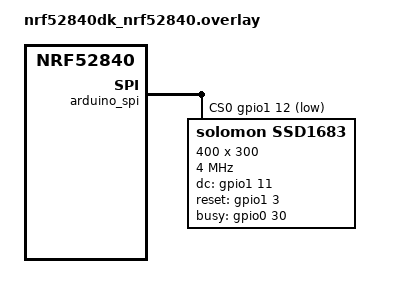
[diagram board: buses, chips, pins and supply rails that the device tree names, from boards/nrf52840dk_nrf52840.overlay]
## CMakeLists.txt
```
cmake_minimum_required(VERSION 3.20.0)

# Add the PN5180 driver module before finding Zephyr
list(APPEND EXTRA_ZEPHYR_MODULES ${CMAKE_CURRENT_SOURCE_DIR}/../ssd1683)

find_package(Zephyr REQUIRED HINTS $ENV{ZEPHYR_BASE})
project(lvgl_1)


# Add all the C files you want built for the app here.
# Keep source files in src/ and list them below.
target_sources(app PRIVATE
    src/main.c
    fonts/roboto_28.c
    fonts/roboto_36.c
    fonts/roboto_bold_42.c
)

# Include directories
target_include_directories(app PRIVATE
    ../ssd1683/include
    ${gen_dir}
    fonts
)
```

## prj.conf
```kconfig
CONFIG_SPI=y
CONFIG_SPI_ASYNC=y
CONFIG_SPI_SLAVE=y
CONFIG_GPIO=y


CONFIG_LOG=y
CONFIG_LOG_DEFAULT_LEVEL=3
CONFIG_SHELL=y


CONFIG_DISPLAY=y
CONFIG_SSD1683=y
CONFIG_MAIN_STACK_SIZE=32768
CONFIG_DISPLAY=y


CONFIG_LVGL=y
# LVGL memory pool size
CONFIG_LV_Z_MEM_POOL_SIZE=32768

# Enable LVGL widgets
CONFIG_LV_USE_LABEL=y
CONFIG_LV_LABEL_TEXT_SELECTION=y
CONFIG_LV_LABEL_LONG_TXT_HINT=y
CONFIG_LV_USE_LINE=y

CONFIG_MPU=y
CONFIG_ARM_MPU=y
CONFIG_MPU_STACK_GUARD=y
CONFIG_MPU_ALLOW_FLASH_WRITE=y


CONFIG_MULTITHREADING=y
CONFIG_THREAD_STACK_INFO=y
CONFIG_INIT_STACKS=y
CONFIG_STACK_CANARIES=y
```

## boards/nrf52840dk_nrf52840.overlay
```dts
// /* Arduino SPI configuration for EPD and NFC sharing */
// &arduino_spi {
// 	status = "okay";
// 	cs-gpios = <&gpio1 12 GPIO_ACTIVE_LOW>; /* EPD CS */

// 	/* EPD device on arduino_spi */
// 	epd_spi_device:
// 		spi-dev-epd@0
// 		{
// 			compatible = "spi-device";
// 			reg = <0>;
// 			spi-max-frequency = <4000000>;
// 		};
// };

// /{
// 	zephyr,user
// 	{
// 		epd_busy-gpios = <&gpio0 30 GPIO_ACTIVE_HIGH>;
// 		epd_dc-gpios = <&gpio1 11 GPIO_ACTIVE_HIGH>;
// 		epd_rst-gpios = <&gpio1 3 GPIO_ACTIVE_HIGH>;
// 	};
// };

/ {
	chosen {
		zephyr,display = &ssd1683;
	};
};


&arduino_spi {
	status = "okay";
	cs-gpios = <&gpio1 12 GPIO_ACTIVE_LOW>;  /* EPD CS */
	
	/* SSD1683 E-Paper Display - Zephyr Display Driver */
	ssd1683: ssd1683@0 {
		compatible = "solomon,ssd1683";
		reg = <0>;
		spi-max-frequency = <4000000>;
		
		/* Display dimensions (400x300 pixels) */
		width = <400>;
		height = <300>;
		
		/* Control GPIOs */
		dc-gpios = <&gpio1 11 GPIO_ACTIVE_HIGH>;    /* Data/Command control */
		reset-gpios = <&gpio1 3 GPIO_ACTIVE_HIGH>;   /* Hardware reset */
		busy-gpios = <&gpio0 30 GPIO_ACTIVE_HIGH>;   /* Busy status input */
		
		/* Display configuration */
		fast-mode;  /* Enable fast refresh mode for quicker updates */
	};
};
```

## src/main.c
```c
#include <lvgl.h>
#include <string.h>
#include <zephyr/drivers/display.h>
#include <zephyr/kernel.h>

// Settings
static const int32_t sleep_time_ms = 50; // Target 20 FPS

int main(void) {
  uint32_t count = 0;
  char buf[11] = {0};
  const struct device *display;
  lv_obj_t *hello_label;
  lv_obj_t *counter_label;
  lv_obj_t *rect;
  lv_obj_t *circle;
  lv_style_t rect_style;
  lv_style_t circle_style;
  lv_point_t rect_points[5] = {{0, 0}, {120, 0}, {120, 20}, {0, 20}, {0, 0}};
  const uint32_t circle_radius = 15;

  // Initialize the display
  display = DEVICE_DT_GET(DT_CHOSEN(zephyr_display));
  if (!device_is_ready(display)) {
    printk("Error: display not ready\r\n");
    return 0;
  }

  // Create a static label widget
  hello_label = lv_label_create(lv_scr_act());
  lv_label_set_text(hello_label, "Hello, World!");
  lv_obj_align(hello_label, LV_ALIGN_TOP_MID, 0, 5);

  // Create a dynamic label widget
  counter_label = lv_label_create(lv_scr_act());
  lv_obj_align(counter_label, LV_ALIGN_BOTTOM_MID, 0, 0);

  // Set line style
  lv_style_init(&rect_style);
  lv_style_set_line_color(&rect_style, lv_color_hex(0x0000FF));
  lv_style_set_line_width(&rect_style, 3);

  // Create a rectangle out of lines
  rect = lv_line_create(lv_scr_act());
  lv_obj_add_style(rect, &rect_style, 0);
  lv_line_set_points(rect, rect_points,
                     sizeof(rect_points) / sizeof(rect_points[0]));
  lv_obj_align(rect, LV_ALIGN_TOP_MID, 0, 0);

  // Set circle style
  lv_style_init(&circle_style);
  lv_style_set_radius(&circle_style, circle_radius);
  lv_style_set_bg_opa(&circle_style, LV_OPA_100);
  lv_style_set_bg_color(&circle_style, lv_color_hex(0xFF0000));

  // Create an object with the new style
  circle = lv_obj_create(lv_scr_act());
  lv_obj_set_size(circle, circle_radius * 2, circle_radius * 2);
  lv_obj_add_style(circle, &circle_style, 0);
  lv_obj_align(circle, LV_ALIGN_CENTER, 0, 5);

  // Disable display blanking
  display_blanking_off(display);

  // Do forever
  while (1) {

    // Update counter label every second
    count++;
    if ((count % (1000 / sleep_time_ms)) == 0) {
      sprintf(buf, "%d", count / (1000 / sleep_time_ms));
      lv_label_set_text(counter_label, buf);
    }

    // Must be called periodically
    lv_task_handler();

    // Sleep
    k_msleep(sleep_time_ms);
  }
}
```

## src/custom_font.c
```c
/*
 * Custom Font Rendering Implementation
 * Direct font rendering using cfbv_1016.h font data
 */

#include "custom_font.h"
#include "fonts/cfbv_1016.h"
#include <string.h>
#include <zephyr/device.h>
#include <zephyr/drivers/display.h>
#include <zephyr/kernel.h>
#include <zephyr/logging/log.h>

LOG_MODULE_REGISTER(custom_font, LOG_LEVEL_INF);

// Helper function to get font data for a character
static const uint8_t *get_font_data(char c) {
  // Convert character to font index (ASCII 32-126 maps to 0-94)
  if (c < 32 || c > 126) {
    c = 32; // Use space for invalid characters
  }
  return cfb_font_custom_1016[c - 32];
}

// Helper function to set a pixel in a buffer
static void set_pixel(uint8_t *buffer, int width_bytes, int x, int y,
                      bool black) {
  if (x < 0 || y < 0)
    return;

  int byte_index = (y * width_bytes) + (x / 8);
  int bit_index = 7 - (x % 8);

  if (black) {
    buffer[byte_index] &= ~(1 << bit_index); // Clear bit = black pixel
  } else {
    buffer[byte_index] |= (1 << bit_index); // Set bit = white pixel
  }
}

// Draw a single character
int custom_font_draw_char(const struct device *display, char c, uint16_t x,
                          uint16_t y) {
  const uint8_t *font_data = get_font_data(c);

  // Get display capabilities
  struct display_capabilities caps;
  display_get_capabilities(display, &caps);

  int width_bytes = (caps.x_resolution + 7) / 8;
  int total_bytes = width_bytes * caps.y_resolution;

  // Allocate buffer for this character
  uint8_t *char_buffer = k_malloc(total_bytes);
  if (!char_buffer) {
    LOG_ERR("Failed to allocate character buffer");
    return -ENOMEM;
  }

  // Clear buffer to white (0xFF = white for EPD)
  memset(char_buffer, 0xFF, total_bytes);

  // Render character
  for (int row = 0; row < FONT_HEIGHT; row++) {
    // Get the two bytes for this row (little-endian)
    uint16_t row_data = font_data[row * FONT_CHAR_WIDTH] |
                        (font_data[row * FONT_CHAR_WIDTH + 1] << 8);

    for (int col = 0; col < FONT_WIDTH; col++) {
      // Check if pixel should be black (bit is set)
      // Font data is MSB first, so we check from left to right
      if (row_data & (0x8000 >> col)) {
        set_pixel(char_buffer, width_bytes, x + col, y + row, true);
      }
    }
  }

  // Create display buffer descriptor
  struct display_buffer_descriptor desc = {
      .buf_size = total_bytes,
      .width = caps.x_resolution,
      .height = caps.y_resolution,
      .pitch = width_bytes,
  };

  // Write to display
  int ret = display_write(display, 0, 0, &desc, char_buffer);
  if (ret < 0) {
    LOG_ERR("Display write failed: %d", ret);
  }

  k_free(char_buffer);
  return ret;
}

// Clear the display to white
int custom_font_clear_display(const struct device *display) {
  struct display_capabilities caps;
  display_get_capabilities(display, &caps);

  int width_bytes = (caps.x_resolution + 7) / 8;
  int total_bytes = width_bytes * caps.y_resolution;

  // Allocate white buffer
  uint8_t *white_buffer = k_malloc(total_bytes);
  if (!white_buffer) {
    LOG_ERR("Failed to allocate white buffer");
    return -ENOMEM;
  }

  // Fill with white (0xFF = white for EPD)
  memset(white_buffer, 0xFF, total_bytes);

  struct display_buffer_descriptor desc = {
      .buf_size = total_bytes,
      .width = caps.x_resolution,
      .height = caps.y_resolution,
      .pitch = width_bytes,
  };

  int ret = display_write(display, 0, 0, &desc, white_buffer);
  k_free(white_buffer);

  return ret;
}

// Render text string
int custom_font_render_text(const struct device *display, const char *text,
                            uint16_t x, uint16_t y) {
  LOG_INF("Rendering text: '%s' at (%d, %d)", text, x, y);

  // Clear display first
  int ret = custom_font_clear_display(display);
  if (ret < 0) {
    LOG_ERR("Failed to clear display: %d", ret);
    return ret;
  }

  // Render each character
  uint16_t current_x = x;
  for (int i = 0; text[i] != '\0'; i++) {
    ret = custom_font_draw_char(display, text[i], current_x, y);
    if (ret < 0) {
      LOG_ERR("Failed to draw character '%c': %d", text[i], ret);
      return ret;
    }
    current_x += FONT_WIDTH + 1; // Add 1 pixel spacing between characters
  }

  LOG_INF("Text rendered successfully");
  return 0;
}
```

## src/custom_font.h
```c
/*
 * Custom Font Rendering System
 * Uses cfbv_1016.h font data for direct text rendering
 */

#ifndef CUSTOM_FONT_H
#define CUSTOM_FONT_H

#include <stdint.h>
#include <zephyr/device.h>

// Font dimensions
#define FONT_WIDTH 10
#define FONT_HEIGHT 16
#define FONT_CHAR_WIDTH 2 // 2 bytes per row (16 bits = 10 pixels + 6 padding)

// Function declarations
int custom_font_render_text(const struct device *display, const char *text,
                            uint16_t x, uint16_t y);
int custom_font_clear_display(const struct device *display);
int custom_font_draw_char(const struct device *display, char c, uint16_t x,
                          uint16_t y);

#endif /* CUSTOM_FONT_H */
```

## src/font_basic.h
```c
const char font8x8_basic[128][8] = {
    {0x00, 0x00, 0x00, 0x00, 0x00, 0x00, 0x00, 0x00}, // U+0000 (nul)
    {0x00, 0x00, 0x00, 0x00, 0x00, 0x00, 0x00, 0x00}, // U+0001
    {0x00, 0x00, 0x00, 0x00, 0x00, 0x00, 0x00, 0x00}, // U+0002
    {0x00, 0x00, 0x00, 0x00, 0x00, 0x00, 0x00, 0x00}, // U+0003
    {0x00, 0x00, 0x00, 0x00, 0x00, 0x00, 0x00, 0x00}, // U+0004
    {0x00, 0x00, 0x00, 0x00, 0x00, 0x00, 0x00, 0x00}, // U+0005
    {0x00, 0x00, 0x00, 0x00, 0x00, 0x00, 0x00, 0x00}, // U+0006
    {0x00, 0x00, 0x00, 0x00, 0x00, 0x00, 0x00, 0x00}, // U+0007
    {0x00, 0x00, 0x00, 0x00, 0x00, 0x00, 0x00, 0x00}, // U+0008
    {0x00, 0x00, 0x00, 0x00, 0x00, 0x00, 0x00, 0x00}, // U+0009
    {0x00, 0x00, 0x00, 0x00, 0x00, 0x00, 0x00, 0x00}, // U+000A
    {0x00, 0x00, 0x00, 0x00, 0x00, 0x00, 0x00, 0x00}, // U+000B
    {0x00, 0x00, 0x00, 0x00, 0x00, 0x00, 0x00, 0x00}, // U+000C
    {0x00, 0x00, 0x00, 0x00, 0x00, 0x00, 0x00, 0x00}, // U+000D
    {0x00, 0x00, 0x00, 0x00, 0x00, 0x00, 0x00, 0x00}, // U+000E
    {0x00, 0x00, 0x00, 0x00, 0x00, 0x00, 0x00, 0x00}, // U+000F
    {0x00, 0x00, 0x00, 0x00, 0x00, 0x00, 0x00, 0x00}, // U+0010
    {0x00, 0x00, 0x00, 0x00, 0x00, 0x00, 0x00, 0x00}, // U+0011
    {0x00, 0x00, 0x00, 0x00, 0x00, 0x00, 0x00, 0x00}, // U+0012
    {0x00, 0x00, 0x00, 0x00, 0x00, 0x00, 0x00, 0x00}, // U+0013
    {0x00, 0x00, 0x00, 0x00, 0x00, 0x00, 0x00, 0x00}, // U+0014
    {0x00, 0x00, 0x00, 0x00, 0x00, 0x00, 0x00, 0x00}, // U+0015
    {0x00, 0x00, 0x00, 0x00, 0x00, 0x00, 0x00, 0x00}, // U+0016
    {0x00, 0x00, 0x00, 0x00, 0x00, 0x00, 0x00, 0x00}, // U+0017
    {0x00, 0x00, 0x00, 0x00, 0x00, 0x00, 0x00, 0x00}, // U+0018
    {0x00, 0x00, 0x00, 0x00, 0x00, 0x00, 0x00, 0x00}, // U+0019
    {0x00, 0x00, 0x00, 0x00, 0x00, 0x00, 0x00, 0x00}, // U+001A
    {0x00, 0x00, 0x00, 0x00, 0x00, 0x00, 0x00, 0x00}, // U+001B
    {0x00, 0x00, 0x00, 0x00, 0x00, 0x00, 0x00, 0x00}, // U+001C
    {0x00, 0x00, 0x00, 0x00, 0x00, 0x00, 0x00, 0x00}, // U+001D
    {0x00, 0x00, 0x00, 0x00, 0x00, 0x00, 0x00, 0x00}, // U+001E
    {0x00, 0x00, 0x00, 0x00, 0x00, 0x00, 0x00, 0x00}, // U+001F
    {0x00, 0x00, 0x00, 0x00, 0x00, 0x00, 0x00, 0x00}, // U+0020 (space)
    {0x18, 0x3C, 0x3C, 0x18, 0x18, 0x00, 0x18, 0x00}, // U+0021 (!)
    {0x36, 0x36, 0x00, 0x00, 0x00, 0x00, 0x00, 0x00}, // U+0022 (")
    {0x36, 0x36, 0x7F, 0x36, 0x7F, 0x36, 0x36, 0x00}, // U+0023 (#)
    {0x0C, 0x3E, 0x03, 0x1E, 0x30, 0x1F, 0x0C, 0x00}, // U+0024 ($)
    {0x00, 0x63, 0x33, 0x18, 0x0C, 0x66, 0x63, 0x00}, // U+0025 (%)
    {0x1C, 0x36, 0x1C, 0x6E, 0x3B, 0x33, 0x6E, 0x00}, // U+0026 (&)
    {0x06, 0x06, 0x03, 0x00, 0x00, 0x00, 0x00, 0x00}, // U+0027 (')
    {0x18, 0x0C, 0x06, 0x06, 0x06, 0x0C, 0x18, 0x00}, // U+0028 (()
    {0x06, 0x0C, 0x18, 0x18, 0x18, 0x0C, 0x06, 0x00}, // U+0029 ())
    {0x00, 0x66, 0x3C, 0xFF, 0x3C, 0x66, 0x00, 0x00}, // U+002A (*)
    {0x00, 0x0C, 0x0C, 0x3F, 0x0C, 0x0C, 0x00, 0x00}, // U+002B (+)
    {0x00, 0x00, 0x00, 0x00, 0x00, 0x0C, 0x0C, 0x06}, // U+002C (,)
    {0x00, 0x00, 0x00, 0x3F, 0x00, 0x00, 0x00, 0x00}, // U+002D (-)
    {0x00, 0x00, 0x00, 0x00, 0x00, 0x0C, 0x0C, 0x00}, // U+002E (.)
    {0x60, 0x30, 0x18, 0x0C, 0x06, 0x03, 0x01, 0x00}, // U+002F (/)
    {0x3E, 0x63, 0x73, 0x7B, 0x6F, 0x67, 0x3E, 0x00}, // U+0030 (0)
    {0x0C, 0x0E, 0x0C, 0x0C, 0x0C, 0x0C, 0x3F, 0x00}, // U+0031 (1)
    {0x1E, 0x33, 0x30, 0x1C, 0x06, 0x33, 0x3F, 0x00}, // U+0032 (2)
    {0x1E, 0x33, 0x30, 0x1C, 0x30, 0x33, 0x1E, 0x00}, // U+0033 (3)
    {0x38, 0x3C, 0x36, 0x33, 0x7F, 0x30, 0x78, 0x00}, // U+0034 (4)
    {0x3F, 0x03, 0x1F, 0x30, 0x30, 0x33, 0x1E, 0x00}, // U+0035 (5)
    {0x1C, 0x06, 0x03, 0x1F, 0x33, 0x33, 0x1E, 0x00}, // U+0036 (6)
    {0x3F, 0x33, 0x30, 0x18, 0x0C, 0x0C, 0x0C, 0x00}, // U+0037 (7)
    {0x1E, 0x33, 0x33, 0x1E, 0x33, 0x33, 0x1E, 0x00}, // U+0038 (8)
    {0x1E, 0x33, 0x33, 0x3E, 0x30, 0x18, 0x0E, 0x00}, // U+0039 (9)
    {0x00, 0x0C, 0x0C, 0x00, 0x00, 0x0C, 0x0C, 0x00}, // U+003A (:)
    {0x00, 0x0C, 0x0C, 0x00, 0x00, 0x0C, 0x0C, 0x06}, // U+003B (;)
    {0x18, 0x0C, 0x06, 0x03, 0x06, 0x0C, 0x18, 0x00}, // U+003C (<)
    {0x00, 0x00, 0x3F, 0x00, 0x00, 0x3F, 0x00, 0x00}, // U+003D (=)
    {0x06, 0x0C, 0x18, 0x30, 0x18, 0x0C, 0x06, 0x00}, // U+003E (>)
    {0x1E, 0x33, 0x30, 0x18, 0x0C, 0x00, 0x0C, 0x00}, // U+003F (?)
    {0x3E, 0x63, 0x7B, 0x7B, 0x7B, 0x03, 0x1E, 0x00}, // U+0040 (@)
    {0x0C, 0x1E, 0x33, 0x33, 0x3F, 0x33, 0x33, 0x00}, // U+0041 (A)
    {0x3F, 0x66, 0x66, 0x3E, 0x66, 0x66, 0x3F, 0x00}, // U+0042 (B)
    {0x3C, 0x66, 0x03, 0x03, 0x03, 0x66, 0x3C, 0x00}, // U+0043 (C)
    {0x1F, 0x36, 0x66, 0x66, 0x66, 0x36, 0x1F, 0x00}, // U+0044 (D)
    {0x7F, 0x46, 0x16, 0x1E, 0x16, 0x46, 0x7F, 0x00}, // U+0045 (E)
    {0x7F, 0x46, 0x16, 0x1E, 0x16, 0x06, 0x0F, 0x00}, // U+0046 (F)
    {0x3C, 0x66, 0x03, 0x03, 0x73, 0x66, 0x7C, 0x00}, // U+0047 (G)
    {0x33, 0x33, 0x33, 0x3F, 0x33, 0x33, 0x33, 0x00}, // U+0048 (H)
    {0x1E, 0x0C, 0x0C, 0x0C, 0x0C, 0x0C, 0x1E, 0x00}, // U+0049 (I)
    {0x78, 0x30, 0x30, 0x30, 0x33, 0x33, 0x1E, 0x00}, // U+004A (J)
    {0x67, 0x66, 0x36, 0x1E, 0x36, 0x66, 0x67, 0x00}, // U+004B (K)
    {0x0F, 0x06, 0x06, 0x06, 0x46, 0x66, 0x7F, 0x00}, // U+004C (L)
    {0x63, 0x77, 0x7F, 0x7F, 0x6B, 0x63, 0x63, 0x00}, // U+004D (M)
    {0x63, 0x67, 0x6F, 0x7B, 0x73, 0x63, 0x63, 0x00}, // U+004E (N)
    {0x1C, 0x36, 0x63, 0x63, 0x63, 0x36, 0x1C, 0x00}, // U+004F (O)
    {0x3F, 0x66, 0x66, 0x3E, 0x06, 0x06, 0x0F, 0x00}, // U+0050 (P)
    {0x1E, 0x33, 0x33, 0x33, 0x3B, 0x1E, 0x38, 0x00}, // U+0051 (Q)
    {0x3F, 0x66, 0x66, 0x3E, 0x36, 0x66, 0x67, 0x00}, // U+0052 (R)
    {0x1E, 0x33, 0x07, 0x0E, 0x38, 0x33, 0x1E, 0x00}, // U+0053 (S)
    {0x3F, 0x2D, 0x0C, 0x0C, 0x0C, 0x0C, 0x1E, 0x00}, // U+0054 (T)
    {0x33, 0x33, 0x33, 0x33, 0x33, 0x33, 0x3F, 0x00}, // U+0055 (U)
    {0x33, 0x33, 0x33, 0x33, 0x33, 0x1E, 0x0C, 0x00}, // U+0056 (V)
    {0x63, 0x63, 0x63, 0x6B, 0x7F, 0x77, 0x63, 0x00}, // U+0057 (W)
    {0x63, 0x63, 0x36, 0x1C, 0x1C, 0x36, 0x63, 0x00}, // U+0058 (X)
    {0x33, 0x33, 0x33, 0x1E, 0x0C, 0x0C, 0x1E, 0x00}, // U+0059 (Y)
    {0x7F, 0x63, 0x31, 0x18, 0x4C, 0x66, 0x7F, 0x00}, // U+005A (Z)
    {0x1E, 0x06, 0x06, 0x06, 0x06, 0x06, 0x1E, 0x00}, // U+005B ([)
    {0x03, 0x06, 0x0C, 0x18, 0x30, 0x60, 0x40, 0x00}, // U+005C (\)
    {0x1E, 0x18, 0x18, 0x18, 0x18, 0x18, 0x1E, 0x00}, // U+005D (])
    {0x08, 0x1C, 0x36, 0x63, 0x00, 0x00, 0x00, 0x00}, // U+005E (^)
    {0x00, 0x00, 0x00, 0x00, 0x00, 0x00, 0x00, 0xFF}, // U+005F (_)
    {0x0C, 0x0C, 0x18, 0x00, 0x00, 0x00, 0x00, 0x00}, // U+0060 (`)
    {0x00, 0x00, 0x1E, 0x30, 0x3E, 0x33, 0x6E, 0x00}, // U+0061 (a)
    {0x07, 0x06, 0x06, 0x3E, 0x66, 0x66, 0x3B, 0x00}, // U+0062 (b)
    {0x00, 0x00, 0x1E, 0x33, 0x03, 0x33, 0x1E, 0x00}, // U+0063 (c)
    {0x38, 0x30, 0x30, 0x3e, 0x33, 0x33, 0x6E, 0x00}, // U+0064 (d)
    {0x00, 0x00, 0x1E, 0x33, 0x3f, 0x03, 0x1E, 0x00}, // U+0065 (e)
    {0x1C, 0x36, 0x06, 0x0f, 0x06, 0x06, 0x0F, 0x00}, // U+0066 (f)
    {0x00, 0x00, 0x6E, 0x33, 0x33, 0x3E, 0x30, 0x1F}, // U+0067 (g)
    {0x07, 0x06, 0x36, 0x6E, 0x66, 0x66, 0x67, 0x00}, // U+0068 (h)
    {0x0C, 0x00, 0x0E, 0x0C, 0x0C, 0x0C, 0x1E, 0x00}, // U+0069 (i)
    {0x30, 0x00, 0x30, 0x30, 0x30, 0x33, 0x33, 0x1E}, // U+006A (j)
    {0x07, 0x06, 0x66, 0x36, 0x1E, 0x36, 0x67, 0x00}, // U+006B (k)
    {0x0E, 0x0C, 0x0C, 0x0C, 0x0C, 0x0C, 0x1E, 0x00}, // U+006C (l)
    {0x00, 0x00, 0x33, 0x7F, 0x7F, 0x6B, 0x63, 0x00}, // U+006D (m)
    {0x00, 0x00, 0x1F, 0x33, 0x33, 0x33, 0x33, 0x00}, // U+006E (n)
    {0x00, 0x00, 0x1E, 0x33, 0x33, 0x33, 0x1E, 0x00}, // U+006F (o)
    {0x00, 0x00, 0x3B, 0x66, 0x66, 0x3E, 0x06, 0x0F}, // U+0070 (p)
    {0x00, 0x00, 0x6E, 0x33, 0x33, 0x3E, 0x30, 0x78}, // U+0071 (q)
    {0x00, 0x00, 0x3B, 0x6E, 0x66, 0x06, 0x0F, 0x00}, // U+0072 (r)
    {0x00, 0x00, 0x3E, 0x03, 0x1E, 0x30, 0x1F, 0x00}, // U+0073 (s)
    {0x08, 0x0C, 0x3E, 0x0C, 0x0C, 0x2C, 0x18, 0x00}, // U+0074 (t)
    {0x00, 0x00, 0x33, 0x33, 0x33, 0x33, 0x6E, 0x00}, // U+0075 (u)
    {0x00, 0x00, 0x33, 0x33, 0x33, 0x1E, 0x0C, 0x00}, // U+0076 (v)
    {0x00, 0x00, 0x63, 0x6B, 0x7F, 0x7F, 0x36, 0x00}, // U+0077 (w)
    {0x00, 0x00, 0x63, 0x36, 0x1C, 0x36, 0x63, 0x00}, // U+0078 (x)
    {0x00, 0x00, 0x33, 0x33, 0x33, 0x3E, 0x30, 0x1F}, // U+0079 (y)
    {0x00, 0x00, 0x3F, 0x19, 0x0C, 0x26, 0x3F, 0x00}, // U+007A (z)
    {0x38, 0x0C, 0x0C, 0x07, 0x0C, 0x0C, 0x38, 0x00}, // U+007B ({)
    {0x18, 0x18, 0x18, 0x00, 0x18, 0x18, 0x18, 0x00}, // U+007C (|)
    {0x07, 0x0C, 0x0C, 0x38, 0x0C, 0x0C, 0x07, 0x00}, // U+007D (})
    {0x6E, 0x3B, 0x00, 0x00, 0x00, 0x00, 0x00, 0x00}, // U+007E (~)
    {0x00, 0x00, 0x00, 0x00, 0x00, 0x00, 0x00, 0x00}  // U+007F
};
```

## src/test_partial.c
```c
/*
 * Direct Partial Refresh Test
 * This file contains a test function to directly test
 * the SSD1683 partial refresh capability.
 */

#include "cfb_mono_FreeSans.h"
#include "cfb_mono_FreeSansBold.h"
#include "fonts/cfbv_1016.h"
#include <string.h>
#include <zephyr/device.h>
#include <zephyr/display/cfb.h>
#include <zephyr/drivers/display.h>
#include <zephyr/kernel.h>
#include <zephyr/logging/log.h>

LOG_MODULE_REGISTER(test_partial, LOG_LEVEL_INF);

/* Simple function to fill a buffer with a pattern */
static void fill_pattern(uint8_t *buf, int width_bytes, int height,
                         uint8_t pattern) {
  for (int i = 0; i < width_bytes * height; i++) {
    buf[i] = pattern;
  }
}

/**
 * Test partial refresh by directly calling display_write with a small region
 *
 * This function tests the driver's partial refresh capability without using
 * LVGL.
 */
void test_partial_refresh_direct(const struct device *display) {
  LOG_INF("=== DIRECT PARTIAL REFRESH TEST ===");

  // First, clear the entire display to white background

  // Wait a moment for the clear to complete
  k_sleep(K_SECONDS(2));

  // Center the box if (0,0) is bottom left
  const int screen_w = 400; // Set to your display's width in pixels
  const int screen_h = 300; // Set to your display's height in pixels
  const int test_w = 30;
  const int test_h = 30;
  const int test_x = (screen_w - test_w) / 2;
  const int test_y = (screen_h - test_h) / 2;

  // Calculate buffer size (1 bit per pixel, 8 pixels per byte)
  const int width_bytes = (test_w + 7) / 8;
  const int buf_size = width_bytes * test_h;

  LOG_INF("Test region: x=%d, y=%d, w=%d, h=%d", test_x, test_y, test_w,
          test_h);
  LOG_INF("Buffer size: %d bytes (%d x %d)", buf_size, width_bytes, test_h);

  // Allocate buffer
  uint8_t *test_buf = k_malloc(buf_size);
  if (!test_buf) {
    LOG_ERR("Failed to allocate test buffer");
    return;
  }

  // Fill with black (0x00 = black)
  fill_pattern(test_buf, width_bytes, test_h, 0x00);

  // Setup display buffer descriptor
  struct display_buffer_descriptor desc = {
      .buf_size = buf_size,
      .width = test_w,
      .height = test_h,
      .pitch = width_bytes,
  };

  LOG_INF("Writing BLACK rectangle to display...");
  int ret = display_write(display, test_x, test_y, &desc, test_buf);
  if (ret < 0) {
    LOG_ERR("Display write failed: %d", ret);
  } else {
    LOG_INF("Partial write completed successfully!");
    LOG_INF("Check logs for 'Partial screen update' vs 'Full screen flush'");
  }

  // Wait 3 seconds
  k_sleep(K_SECONDS(3));

  // Now draw white rectangle (0xFF = white)
  fill_pattern(test_buf, width_bytes, test_h, 0xFF);
  LOG_INF("Writing WHITE rectangle to display...");
  ret = display_write(display, test_x, test_y, &desc, test_buf);
  if (ret < 0) {
    LOG_ERR("Display write failed: %d", ret);
  } else {
    LOG_INF("Partial write completed successfully!");
  }

  k_free(test_buf);
  LOG_INF("=== TEST COMPLETE ===");
}

/**
 * Test CFB (Character Framebuffer) text rendering
 *
 * This demonstrates how to use Zephyr's CFB to draw text on the display.
 */
void test_cfb_text(const struct device *display) {
  LOG_INF("=== CFB TEXT RENDERING TEST ===");

  // Initialize CFB
  int ret = cfb_framebuffer_init(display);
  if (ret != 0) {
    LOG_ERR("CFB init failed: %d", ret);
    return;
  }
  LOG_INF("CFB initialized successfully");

  // Set custom font (index 0 for our custom font)
  ret = cfb_framebuffer_set_font(display, 0);
  if (ret != 0) {
    LOG_ERR("CFB font set failed: %d", ret);
    return;
  }
  LOG_INF("Custom font (10x16) set successfully");

  // Clear display first
  cfb_framebuffer_clear(display, true);
  LOG_INF("Display cleared");

  // Draw some text at different positions
  cfb_print(display, "Hello World!", 10, 10);
  cfb_print(display, "CFB Test!", 10, 30);
  cfb_print(display, "E-Paper Display", 10, 50);

  // Draw a counter
  static int counter = 0;
  char counter_str[32];
  snprintf(counter_str, sizeof(counter_str), "Counter: %d", counter++);
  cfb_print(display, counter_str, 10, 70);

  // Draw some more text to fill the screen
  cfb_print(display, "Zephyr RTOS", 10, 90);
  cfb_print(display, "SSD1683 Driver", 10, 110);
  cfb_print(display, "400x300 Display", 10, 130);
  cfb_print(display, "Custom Font 10x16", 10, 150);

  // Draw text at different positions
  cfb_print(display, "Top Right", 300, 10);
  cfb_print(display, "Bottom Left", 10, 250);
  cfb_print(display, "Center", 180, 150);

  // Show font info
  cfb_print(display, "Font: 10x16 pixels", 10, 170);

  // Finalize and refresh
  cfb_framebuffer_finalize(display);
  LOG_INF("CFB text rendered successfully");
}

/**
 * Test CFB with different fonts
 *
 * This demonstrates switching between different CFB fonts
 */
void test_cfb_multiple_fonts(const struct device *display) {
  LOG_INF("=== CFB MULTIPLE FONTS TEST ===");

  // Initialize CFB
  int ret = cfb_framebuffer_init(display);
  if (ret != 0) {
    LOG_ERR("CFB init failed: %d", ret);
    return;
  }
  LOG_INF("CFB initialized successfully");

  // Test with original custom font (10x16) - index 0
  ret = cfb_framebuffer_set_font(display, 0);
  if (ret != 0) {
    LOG_ERR("CFB font set failed: %d", ret);
    return;
  }
  LOG_INF("Using custom font (10x16)");

  // Clear and draw with first font
  cfb_framebuffer_clear(display, true);
  cfb_print(display, "Font 1: Custom 10x16", 10, 10);
  cfb_print(display, "Hello World!", 10, 30);
  cfb_framebuffer_finalize(display);

  k_sleep(K_SECONDS(2));

  // Test with FreeSans font (12x16) - index 1
  ret = cfb_framebuffer_set_font(display, 1);
  if (ret == 0) {
    LOG_INF("Using FreeSans font (12x16)");
    cfb_framebuffer_clear(display, true);
    cfb_print(display, "Font 2: FreeSans 12x16", 10, 10);
    cfb_print(display, "Hello World!", 10, 30);
    cfb_framebuffer_finalize(display);
    k_sleep(K_SECONDS(2));
  }

  // Test with FreeSansBold font (12x16) - index 2
  ret = cfb_framebuffer_set_font(display, 2);
  if (ret == 0) {
    LOG_INF("Using FreeSansBold font (12x16)");
    cfb_framebuffer_clear(display, true);
    cfb_print(display, "Font 3: FreeSansBold 12x16", 10, 10);
    cfb_print(display, "Hello World!", 10, 30);
    cfb_framebuffer_finalize(display);
    k_sleep(K_SECONDS(2));
  }

  LOG_INF("CFB multiple fonts test completed");
}
```

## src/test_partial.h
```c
/*
 * Direct Partial Refresh Test Header
 */

#ifndef TEST_PARTIAL_H
#define TEST_PARTIAL_H

#include <zephyr/device.h>

/**
 * Test partial refresh by directly calling display_write with a small region
 * This bypasses LVGL to test the hardware driver's partial refresh capability
 *
 * @param display Pointer to the display device
 */
void test_partial_refresh_direct(const struct device *display);

/**
 * Test CFB (Character Framebuffer) text rendering
 * Demonstrates how to use Zephyr's CFB to draw text on the display
 *
 * @param display Pointer to the display device
 */
void test_cfb_text(const struct device *display);

/**
 * Test CFB with multiple fonts
 * Demonstrates switching between different CFB fonts
 *
 * @param display Pointer to the display device
 */
void test_cfb_multiple_fonts(const struct device *display);

#endif /* TEST_PARTIAL_H */
```
